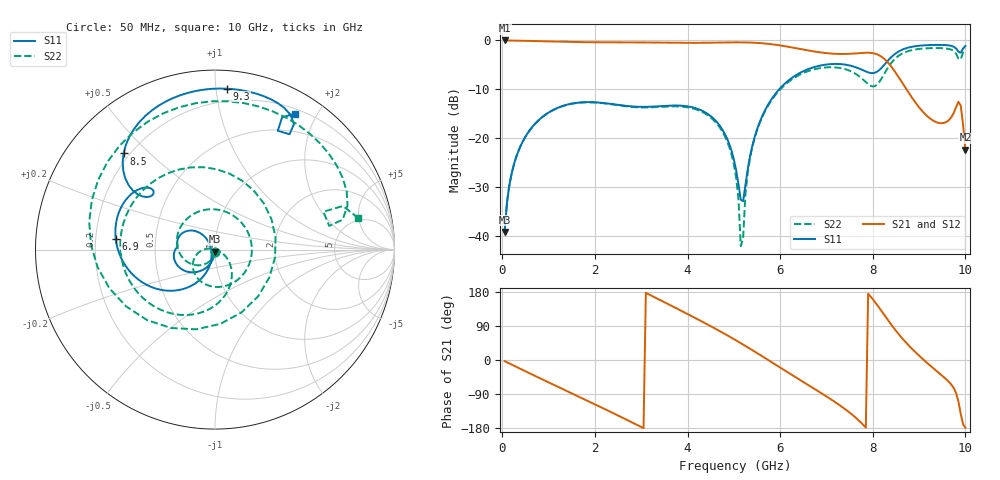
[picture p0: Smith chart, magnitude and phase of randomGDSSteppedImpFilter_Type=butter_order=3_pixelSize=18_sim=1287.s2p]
! freq	dB(S11)	phase(S11)	dB(S12)	phase(S12)
!  dB(S21)	phase(S21)	dB(S22)	phase(S22)
!S-par simulation data
#  GHz  S  DB  R 50
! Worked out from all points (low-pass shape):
!   200 points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, 50 MHz to 10 GHz, reference 50 ohm
!   highest |S21| = -0.01 dB at 50 MHz (marker M1); lowest = -22.4 dB at 10 GHz (marker M2)
!   |S21| within 3 dB of the highest: start of sweep to 8.127 GHz
!   lowest |S11| = -39.3 dB at 50 MHz (marker M3), VSWR 1.02, Z = 50 - j1.09 ohm
!   |S11| at or under -10 dB: start of sweep to 5.982 GHz
!   |S22| runs from -42.2 to -1.6 dB; largest |S21 - S12| = 0
!   S11 on the Smith chart (normalised r, x): 50 MHz: 1.00, -0.02; 6.9 GHz: 0.29, +0.05; 8.5 GHz: 0.18, +0.42; 9.3 GHz: 0.11, +1.07; 10 GHz: 0.26, +1.72
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0.05  -39.27 -91.1  -0.01 -3.0  -0.01 -3.0  -39.28 -92.4
0.2  -27.34 -99.4  -0.03 -12.0  -0.03 -12.0  -27.36 -104.5
0.5  -19.73 -113.8  -0.09 -29.8  -0.09 -29.8  -19.75 -126.7
1.75  -12.67 -164.0  -0.36 -102.5  -0.36 -102.5  -12.70 138.0
2.65  -13.39 177.3  -0.39 -155.5  -0.39 -155.5  -13.48 51.1
3.4  -13.47 171.1  -0.46 158.7  -0.46 158.7  -13.63 -33.6
4.55  -15.92 138.8  -0.46 86.0  -0.46 86.0  -16.21 -143.1
5.05  -26.61 133.0  -0.39 51.6  -0.39 51.6  -28.15 171.9
5.15  -32.66 166.3  -0.40 44.4  -0.40 44.4  -42.17 151.3
5.3  -26.40 -114.1  -0.42 33.4  -0.42 33.4  -27.09 -25.5
5.55  -16.95 -111.5  -0.54 14.7  -0.54 14.7  -17.12 -49.3
6.2  -8.06 -146.7  -1.35 -35.3  -1.35 -35.3  -8.35 -109.1
6.7  -5.57 -175.4  -2.21 -73.1  -2.21 -73.1  -6.01 -155.6
6.9  -5.09 173.8  -2.49 -88.3  -2.49 -88.3  -5.62 -175.1
7.55  -5.25 142.7  -2.72 -143.7  -2.72 -143.7  -6.42 106.4
7.95  -6.67 137.5  -2.55 167.9  -2.55 167.9  -9.27 11.4
8.35  -3.91 141.6  -4.77 101.6  -4.77 101.6  -5.27 -133.9
8.5  -2.63 133.6  -6.69 77.1  -6.69 77.1  -3.59 -171.5
8.9  -1.21 108.3  -12.45 23.2  -12.45 23.2  -1.88 117.8
9.3  -0.92 85.8  -16.42 -21.1  -16.42 -21.1  -1.57 67.4
9.85  -2.32 57.1  -12.59 -109.6  -12.59 -109.6  -3.74 11.7
10  -1.14 59.6  -22.42 -178.7  -22.42 -178.7  -1.74 12.3
